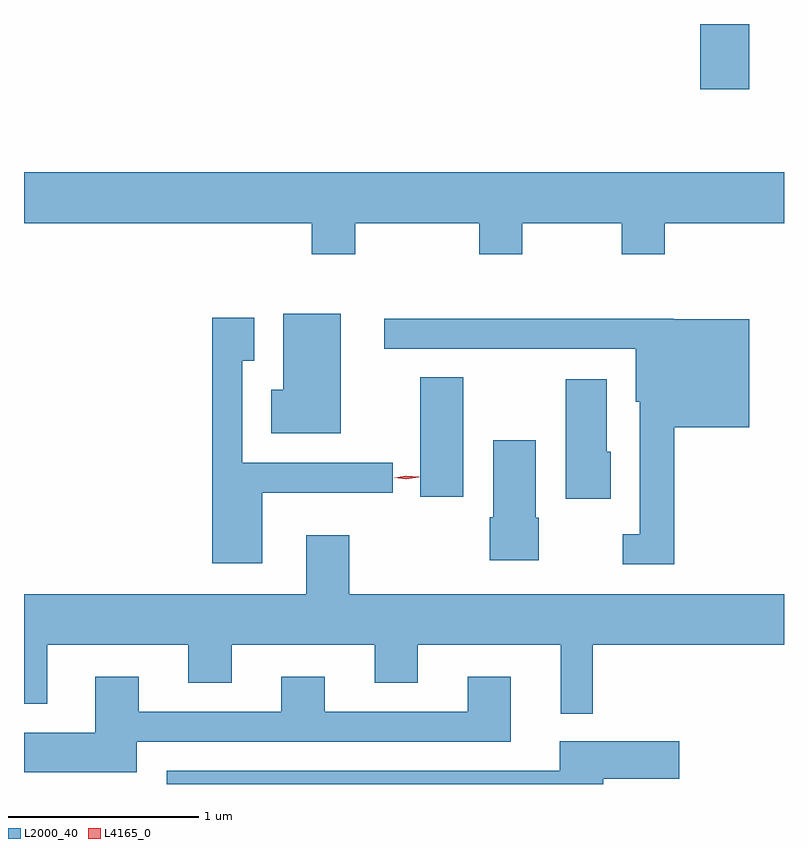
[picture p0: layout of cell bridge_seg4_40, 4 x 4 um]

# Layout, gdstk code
import gdstk
lib = gdstk.Library(unit=1e-6, precision=1e-09)
def R(c, l, rs):  # rectangles x0, y0, x1, y1
    for r in rs: c.add(gdstk.rectangle(r[:2], r[2:], *l))
def P(c, l, *ps):  # polygons
    for p in ps: c.add(gdstk.Polygon(p, *l))
L2000_40 = (2000, 40)
L4165_0 = (4165, 0)

bridge_seg4_40 = lib.new_cell('bridge_seg4_40')
R(bridge_seg4_40, L2000_40, [(1306.771,1379.876,1306.999,1380.504), (1308.246,1382.021,1308.504,1382.364)])
P(bridge_seg4_40, L2000_40, [(1306.429,1381.316),(1307.081,1381.316),(1307.081,1381.151),(1307.309,1381.151),(1307.309,1381.316),(1307.831,1381.316),(1307.831,1381.151),(1308.059,1381.151),(1308.059,1381.316),(1308.686,1381.316),(1308.686,1381.584),(1304.686,1381.584),(1304.686,1381.316),(1306.201,1381.316),(1306.201,1381.151),(1306.429,1381.151)],
  [(1306.354,1380.839),(1306.051,1380.839),(1306.051,1380.439),(1305.986,1380.439),(1305.986,1380.211),(1306.354,1380.211)],
  [(1305.939,1379.896),(1306.628,1379.896),(1306.628,1380.054),(1305.834,1380.054),(1305.834,1380.591),(1305.899,1380.591),(1305.899,1380.819),(1305.676,1380.819),(1305.676,1379.526),(1305.939,1379.526)],
  [(1308.109,1380.241),(1308.504,1380.241),(1308.504,1380.809),(1308.105,1380.809),(1308.105,1380.814),(1306.583,1380.814),(1306.583,1380.656),(1307.906,1380.656),(1307.906,1380.376),(1307.926,1380.376),(1307.926,1379.679),(1307.838,1379.679),(1307.838,1379.521),(1308.109,1379.521)],
  [(1307.774,1380.114),(1307.754,1380.114),(1307.754,1380.494),(1307.536,1380.494),(1307.536,1379.866),(1307.774,1379.866)],
  [(1307.394,1379.765),(1307.379,1379.765),(1307.379,1380.174),(1307.156,1380.174),(1307.156,1379.769),(1307.136,1379.769),(1307.136,1379.541),(1307.394,1379.541)],
  [(1307.679,1379.096),(1308.686,1379.096),(1308.686,1379.364),(1306.399,1379.364),(1306.399,1379.674),(1306.171,1379.674),(1306.171,1379.364),(1304.686,1379.364),(1304.686,1378.786),(1304.809,1378.786),(1304.809,1379.096),(1305.551,1379.096),(1305.551,1378.896),(1305.779,1378.896),(1305.779,1379.096),(1306.531,1379.096),(1306.531,1378.896),(1306.759,1378.896),(1306.759,1379.096),(1307.511,1379.096),(1307.511,1378.733),(1307.679,1378.733)],
  [(1305.279,1378.586),(1307.249,1378.586),(1307.249,1378.929),(1307.021,1378.929),(1307.021,1378.744),(1306.269,1378.744),(1306.269,1378.929),(1306.041,1378.929),(1306.041,1378.744),(1305.289,1378.744),(1305.289,1378.929),(1305.061,1378.929),(1305.061,1378.634),(1304.686,1378.634),(1304.686,1378.426),(1305.279,1378.426)],
  [(1307.734,1378.391),(1308.134,1378.391),(1308.134,1378.589),(1307.506,1378.589),(1307.506,1378.434),(1305.438,1378.434),(1305.438,1378.364),(1307.734,1378.364)])
P(bridge_seg4_40, L4165_0, [(1306.699,1379.968),(1306.634,1379.975),(1306.633,1379.975),(1306.634,1379.976),(1306.699,1379.987),(1306.764,1379.98),(1306.765,1379.98),(1306.764,1379.979)])

lib.write_gds('bridge_seg4_40.gds')
